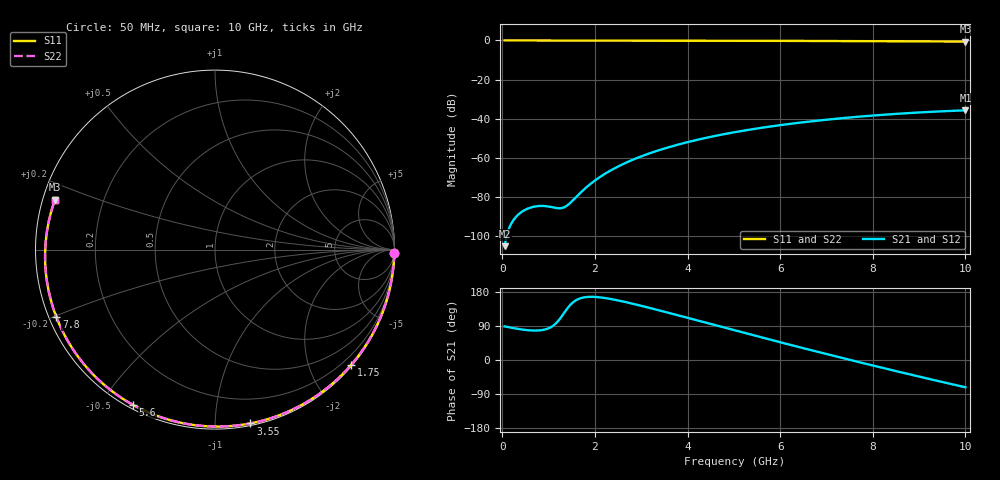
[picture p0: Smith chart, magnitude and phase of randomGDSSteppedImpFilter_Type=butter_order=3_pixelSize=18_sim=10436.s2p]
! freq	dB(S11)	phase(S11)	dB(S12)	phase(S12)
!  dB(S21)	phase(S21)	dB(S22)	phase(S22)
!S-par simulation data
#  GHz  S  DB  R 50
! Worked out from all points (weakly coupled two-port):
!   200 points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, 50 MHz to 10 GHz, reference 50 ohm
!   highest |S21| = -35.77 dB at 10 GHz (marker M1); lowest = -105.3 dB at 50 MHz (marker M2)
!   lowest |S11| = -0.6 dB at 10 GHz (marker M3), VSWR 29.25, Z = 1.75 + j7.59 ohm
!   |S11| at or under -10 dB: nowhere
!   |S22| runs from -0.6 to 0.0 dB; largest |S21 - S12| = 0
!   S11 on the Smith chart (normalised r, x): 50 MHz: open; 1.75 GHz: 0.02, -2.73; 3.55 GHz: 0.01, -1.22; 5.6 GHz: 0.01, -0.60; 7.8 GHz: 0.02, -0.20; 10 GHz: 0.03, +0.15
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0.05  -0.00 -1.1  -105.30 88.8  -105.30 88.8  -0.00 -1.1
0.45  -0.02 -10.5  -87.28 80.0  -87.28 80.0  -0.02 -10.5
0.8  -0.02 -18.6  -84.74 78.1  -84.74 78.1  -0.02 -18.6
1.2  -0.03 -27.8  -85.87 101.9  -85.87 101.9  -0.03 -27.8
1.6  -0.05 -36.9  -80.04 158.3  -80.04 158.3  -0.05 -36.9
1.75  -0.05 -40.2  -76.58 165.0  -76.58 165.0  -0.05 -40.2
2.05  -0.06 -46.8  -70.85 166.1  -70.85 166.1  -0.06 -46.8
2.25  -0.06 -51.2  -67.78 162.9  -67.78 162.9  -0.06 -51.2
2.45  -0.07 -55.5  -65.13 158.5  -65.13 158.5  -0.07 -55.5
2.9  -0.08 -65.1  -60.27 146.0  -60.27 146.0  -0.08 -65.1
3.4  -0.10 -75.5  -56.05 130.6  -56.05 130.6  -0.10 -75.5
3.55  -0.10 -78.5  -54.96 125.8  -54.96 125.8  -0.10 -78.5
4.3  -0.13 -93.4  -50.37 101.5  -50.37 101.5  -0.13 -93.4
5.05  -0.16 -107.6  -46.82 77.2  -46.82 77.2  -0.16 -107.6
5.6  -0.19 -117.8  -44.70 59.5  -44.70 59.5  -0.19 -117.8
6.15  -0.22 -127.7  -42.89 42.1  -42.89 42.1  -0.22 -127.7
6.7  -0.26 -137.5  -41.33 25.0  -41.33 25.0  -0.26 -137.5
7.25  -0.30 -147.2  -39.99 8.1  -39.99 8.1  -0.30 -147.2
7.8  -0.35 -156.9  -38.82 -8.5  -38.82 -8.5  -0.35 -156.9
8.35  -0.40 -166.7  -37.83 -24.9  -37.83 -24.9  -0.40 -166.7
9.2  -0.50 177.9  -36.60 -49.5  -36.60 -49.5  -0.50 177.9
10  -0.59 162.7  -35.77 -72.0  -35.77 -72.0  -0.59 162.7
